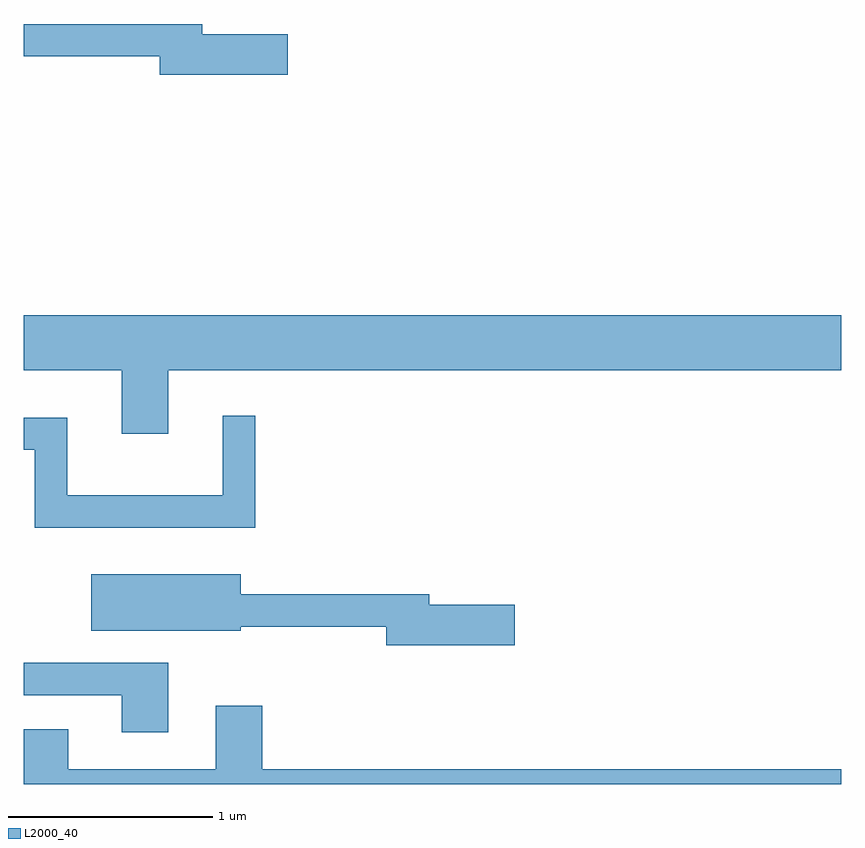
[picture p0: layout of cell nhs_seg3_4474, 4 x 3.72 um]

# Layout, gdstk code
import gdstk
lib = gdstk.Library(unit=1e-6, precision=1e-09)
def P(c, l, *ps):  # polygons
    for p in ps: c.add(gdstk.Polygon(p, *l))
L2000_40 = (2000, 40)

nhs_seg3_4474 = lib.new_cell('nhs_seg3_4474')
P(nhs_seg3_4474, L2000_40, [(316.904,1227.559),(316.484,1227.559),(316.484,1227.609),(315.611,1227.609),(315.611,1227.451),(316.276,1227.451),(316.276,1227.361),(316.904,1227.361)],
  [(316.319,1225.916),(319.611,1225.916),(319.611,1226.184),(315.611,1226.184),(315.611,1225.916),(316.091,1225.916),(316.091,1225.606),(316.319,1225.606)],
  [(316.744,1225.693),(316.586,1225.693),(316.586,1225.304),(315.824,1225.304),(315.824,1225.684),(315.611,1225.684),(315.611,1225.526),(315.666,1225.526),(315.666,1225.146),(316.744,1225.146)],
  [(318.014,1224.769),(317.594,1224.769),(317.594,1224.819),(316.674,1224.819),(316.674,1224.919),(315.941,1224.919),(315.941,1224.641),(316.674,1224.641),(316.674,1224.661),(317.386,1224.661),(317.386,1224.571),(318.014,1224.571)],
  [(316.319,1224.484),(315.611,1224.484),(315.611,1224.326),(316.091,1224.326),(316.091,1224.146),(316.319,1224.146)],
  [(319.611,1223.964),(316.779,1223.964),(316.779,1224.274),(316.551,1224.274),(316.551,1223.964),(315.829,1223.964),(315.829,1224.159),(315.611,1224.159),(315.611,1223.892),(319.611,1223.892)])

lib.write_gds('nhs_seg3_4474.gds')
